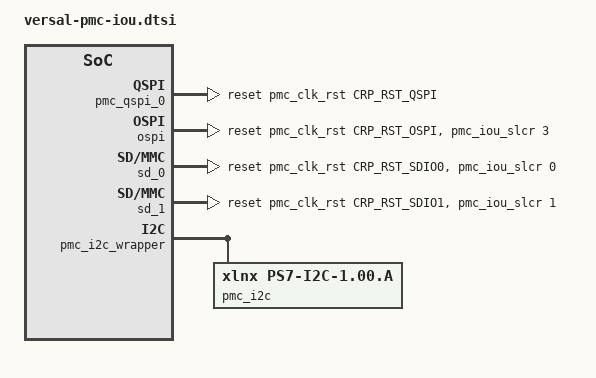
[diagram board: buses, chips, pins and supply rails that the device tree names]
/*
 * Versal IOU
 *
 * Copyright (c) 2016, Xilinx Inc
 * All rights reserved.
 *
 * Redistribution and use in source and binary forms, with or without
 * modification, are permitted provided that the following conditions are met:
 *     * Redistributions of source code must retain the above copyright
 *       notice, this list of conditions and the following disclaimer.
 *     * Redistributions in binary form must reproduce the above copyright
 *       notice, this list of conditions and the following disclaimer in the
 *       documentation and/or other materials provided with the distribution.
 *     * Neither the name of the <organization> nor the
 *       names of its contributors may be used to endorse or promote products
 *       derived from this software without specific prior written permission.
 *
 * THIS SOFTWARE IS PROVIDED BY THE COPYRIGHT HOLDERS AND CONTRIBUTORS "AS IS" AND
 * ANY EXPRESS OR IMPLIED WARRANTIES, INCLUDING, BUT NOT LIMITED TO, THE IMPLIED
 * WARRANTIES OF MERCHANTABILITY AND FITNESS FOR A PARTICULAR PURPOSE ARE
 * DISCLAIMED. IN NO EVENT SHALL <COPYRIGHT HOLDER> BE LIABLE FOR ANY
 * DIRECT, INDIRECT, INCIDENTAL, SPECIAL, EXEMPLARY, OR CONSEQUENTIAL DAMAGES
 * (INCLUDING, BUT NOT LIMITED TO, PROCUREMENT OF SUBSTITUTE GOODS OR SERVICES;
 * LOSS OF USE, DATA, OR PROFITS; OR BUSINESS INTERRUPTION) HOWEVER CAUSED AND
 * ON ANY THEORY OF LIABILITY, WHETHER IN CONTRACT, STRICT LIABILITY, OR TORT
 * (INCLUDING NEGLIGENCE OR OTHERWISE) ARISING IN ANY WAY OUT OF THE USE OF THIS
 * SOFTWARE, EVEN IF ADVISED OF THE POSSIBILITY OF SUCH DAMAGE.
 */

#include "versal.dtsh"

/* SPI_FLASH : Helper macro for creating flash devices
 * args:
 * 	name : flash node name
 * 	compat : flash part compatible string
 * 	sizem : size of the flash
 * 	regval: Value of two fields specifying addr and spi bus number
 */
#define SPI_FLASH(name, compat, sizem, regval)	\
name: name@0 {								\
	#address-cells = <1>;						\
	#size-cells = <1>;						\
	#priority-cells = <0>;						\
	#bus-cells = <1>;						\
	compatible = compat, "st,m25p80";				\
	spi-max-frequency = <50000000>;					\
	reg = <regval>;							\
	name@0x00000000 {						\
		label = #name;						\
		reg = <0x00000000 sizem>;				\
	};								\
};

/ {
	lqspi_mr: lqspi_mr@0 {
		#address-cells = <2>;
		#size-cells = <2>;
		#priority-cells = <1>;
		compatible = "simple-bus";
		ranges;
	};

	lospi_mr: lospi_mr@0 {
		#address-cells = <2>;
		#size-cells = <2>;
		#priority-cells = <1>;
		compatible = "simple-bus";
		ranges;
	};
};

&amba_pmc_iou {
	doc-name = "PMC IOU";
	doc-status = "partial";

	pmc_iou_slcr: pmc_iou_slcr@MM_PMC_PMC_IOU_SLCR {
		doc-status = "partial";
		compatible = "xlnx,versal-pmc-iou-slcr";
		reg = <0x0 MM_PMC_PMC_IOU_SLCR 0x0 0x1000 0x0>;
		interrupts = <PMC_IOU_SLCR_IRQ_0>;
		gpio-controller;
		#gpio-cells = <2>;
	};

	pmc_qspi_dma_0: pmc_qspi_dma@QSPI_DMA {
		doc-status = "complete";
		compatible = "zynqmp,csu-dma";
		interrupts = <QSPI_IRQ_0>;
		#stream-id-cells = <0x1>;
		reg = <0x0 MM_PMC_QSPI_DMA 0x0 0x800 0x0>;
		dma = <&amba_pmc>;
		memattr = <&pmc_qspi_dma_memattr>;
		is-dst = <1>;
		reset-gpios = <&pmc_clk_rst CRP_RST_QSPI>;
	};
	pmc_qspi_0: pmc_qspi@MM_PMC_QSPI {
		doc-status = "complete";
		#address-cells = <1>;
		#size-cells = <0>;
		#bus-cells = <1>;
		compatible = "xlnx,usmp-gqspi", "cdns,spi-r1p6";
		stream-connected-dma = <&pmc_qspi_dma_0>;
		dma = <&amba_pmc>;
		interrupts = <QSPI_IRQ_0>;
		num-ss-bits = <2>;
#ifdef LQSPI_XIP
		reg = <0x0 MM_PMC_QSPI 0x0 0x1000 0x0
			   0x0 0xA0000000 0x0 MM_PMC_LQSPI_SIZE 0x0>;
#else
		reg-extended = <&amba_pmc_iou 0x0 MM_PMC_QSPI 0x0 0x1000 0x0
		                &lqspi_mr 0x0 0x0 0x0 MM_PMC_LQSPI_SIZE 0x0>;
#endif
		speed-hz = <10000000>;
		xlnx,fb-clk = <0x1>;
		xlnx,qspi-clk-freq-hz = <0xbebc200>;
		xlnx,qspi-mode = <0x2>;
#ifdef LQSPI_XIP
		qemu,lqspi-size = <MM_PMC_LQSPI_SIZE>;
		qemu,lqspi-src = <0xA0000000>;
		qemu,lqspi-dst = <MM_PMC_LQSPI>;
#endif
		reset-gpios = <&pmc_clk_rst CRP_RST_QSPI>;
	};

	ospi_dma_dst: ospi_dma@MM_PMC_OSPI_DMA_DST {
		doc-status = "complete";
		compatible = "zynqmp,csu-dma";
		interrupts = <OSPI_IRQ_0>;
		reg = <0x0 MM_PMC_OSPI_DMA_DST 0x0 0x800 0x0>;
		dma = <&amba_pmc>;
		memattr = <&ospi_dma_memattr>;
		is-dst = <1>;
		reset-gpios = <&pmc_clk_rst CRP_RST_OSPI>;
	};
	ospi_dma_src: ospi_dma@MM_PMC_OSPI_DMA_SRC {
		doc-status = "complete";
		compatible = "zynqmp,csu-dma";
		interrupts = <OSPI_IRQ_0>;
		reg = <0x0 MM_PMC_OSPI_DMA_SRC 0x0 0x800 0x0>;
		dma = <&lospi_mr>;
		memattr = <&ospi_dma_memattr>;
		stream-connected-dma = <&ospi_dma_dst>;
		reset-gpios = <&pmc_clk_rst CRP_RST_OSPI>;
	};
	ospi: ospi@MM_PMC_OSPI {
		doc-status = "complete";
		#address-cells = <1>;
		#size-cells = <0>;
		#bus-cells = <1>;
		compatible = "xlnx,versal-ospi";
		reg-extended = <&amba_pmc_iou 0x0 MM_PMC_OSPI      0x0 0x1000 0x0
		                &lospi_mr 0x0 0x0  0x0 0x20000000 0x0>;
		dma-src = <&ospi_dma_src>;
		interrupts = <OSPI_IRQ_0>;
		reset-gpios = <&pmc_clk_rst CRP_RST_OSPI>;
		gpios = <&pmc_iou_slcr 3 0>;
	};

	gpio_mr_mux: gpio_mr_mux@MM_PMC_OSPI_DAC {
		doc-status = "complete";
		compatible = "gpio-mr-mux";
		reg = <0x0 MM_PMC_OSPI_DAC 0x0 0x20000000 0x0>;
		gpios = <&pmc_iou_slcr 2 0
		         &pmc_iou_slcr 3 0>;
		mr-size = <0x20000000>;
		mr0 = <&lqspi_mr>;
		mr1 = <&lospi_mr>;
		mr2 = <&lqspi_mr>;
		mr3 = <&lospi_mr>;
	};

	sd_0: sd0@MM_PMC_SD0 {
		doc-status = "complete";
		compatible = "xilinx,zynqmp-sdhci", "generic-sdhci";
		drive-index = <0>;
		reg = <0x0 MM_PMC_SD0 0x0 MM_PMC_SD0_SIZE 0x0>;
		interrupts = <SD0_IRQ_0>;
		dma = <&smmu_tbu0>;
		memattr = <&sd0_memattr>;
		gpios = <&pmc_iou_slcr 0 0>;
		gpio-names = "SLOTTYPE";
		reset-gpios = <	&pmc_clk_rst CRP_RST_SDIO0 >;
		is-mmc = <0x0>;
		xlnx,has-cd = <0x1>;
		xlnx,has-power = <0x0>;
		xlnx,has-wp = <0x1>;
		xlnx,sdio-clk-freq-hz = <50000000>;
	};

	sd_1: sd1@MM_PMC_SD1 {
		doc-status = "complete";
		compatible = "xilinx,zynqmp-sdhci", "generic-sdhci";
		drive-index = <1>;
		reg = <0x0 MM_PMC_SD1 0x0 MM_PMC_SD1_SIZE 0x0>;
		interrupts = <SD1_IRQ_0>;
		dma = <&smmu_tbu0>;
		memattr = <&sd1_memattr>;
		gpios = <&pmc_iou_slcr 1 0>;
		gpio-names = "SLOTTYPE";
		reset-gpios = <	&pmc_clk_rst CRP_RST_SDIO1 >;
		is-mmc = <0x0>;
		xlnx,has-cd = <0x1>;
		xlnx,has-power = <0x0>;
		xlnx,has-wp = <0x1>;
		xlnx,sdio-clk-freq-hz = <50000000>;
	};

	pmc_tap: pmc_tap@MM_PMC_PMC_TAP {
		doc-status = "complete";
		doc-comments = "Just a stub.";
		compatible = "xlnx,pmc-tap";
		interrupts-extended = <&pmc_ppu0_io_intc IRQ_PPU0_INTC_SEC_DBG>;
		interrupt-names = "sec-dbg-int";
		reg = <0x0 MM_PMC_PMC_TAP 0x0 0x80000 0x0>;
	};

	pmc_i2c_wrapper {
		pmc_i2c: pmc_i2c@MM_PMC_PMC_I2C {
			compatible = "xlnx,ps7-i2c-1.00.a", "cdns,i2c-r1p10";
			interrupts = <I2C_PMC_IRQ_0>;
			reg-extended = <&amba_pmc_iou 0x0 MM_PMC_PMC_I2C 0x0 MM_PMC_PMC_I2C_SIZE 0x0>;
			#address-cells = <1>;
			#size-cells = <0>;
		};
	};
};
